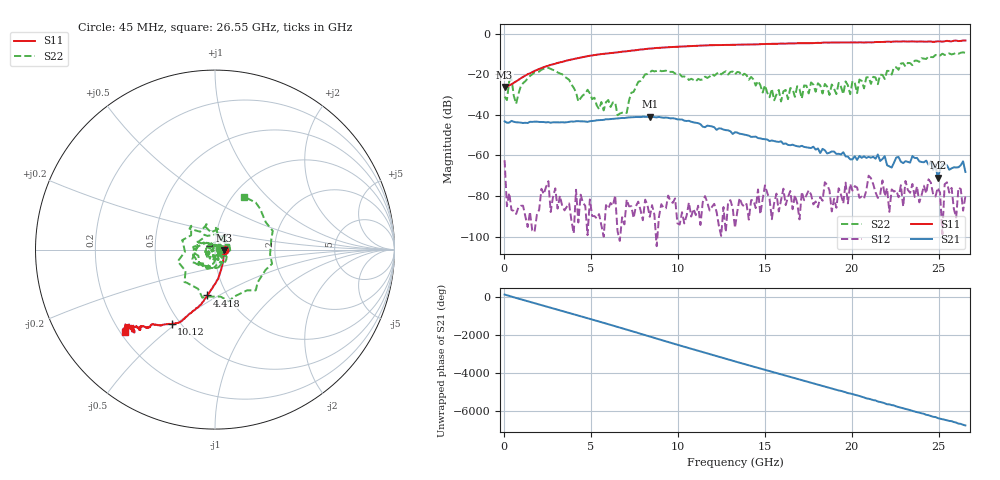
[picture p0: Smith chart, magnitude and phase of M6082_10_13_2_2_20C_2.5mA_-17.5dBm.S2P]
!  2-Port S-parameters saved by WinCal
! VAR MeasName=S-Parameters (CALIBRATED_DATA) read from VNA (C)
! VAR MeasDate=10/16/2015 2:30:54 PM
! VAR NAME=M6082_10_13_2_2_20C_2.5mA_-17.5dBm
! VAR FILENAME=M6082_10_13_2_2_20C_2.5mA_-17.5dBm.S2P
! VAR DATE=10/16/2015 2:30:54 PM
! VAR PHYS_PORTS=2,1
! VAR ObjTypeName=DATASET
! VAR IndexType=Frequency
# Hz S DB R 50
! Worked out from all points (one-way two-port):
!   201 points, 45 MHz to 26.55 GHz, reference 50 ohm
!   highest |S21| = -40.86 dB at 8.393 GHz (marker M1); lowest = -71.0 dB at 24.95 GHz (marker M2)
!   lowest |S11| = -26.3 dB at 45 MHz (marker M3), VSWR 1.10, Z = 55.1 - j0.218 ohm
!   |S11| at or under -10 dB: start of sweep to 5.648 GHz
!   |S22| runs from -40.1 to -9.2 dB; largest |S21 - S12| = 0.0091
!   S11 on the Smith chart (normalised r, x): 45 MHz: 1.10, -0.00; 4.418 GHz: 0.81, -0.44; 10.12 GHz: 0.45, -0.48; 26.55 GHz: 0.22, -0.37
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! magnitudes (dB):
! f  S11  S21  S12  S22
! 45 MHz  -26.3  -43.2  -62.3  -31.0
! 177.5 MHz  -26.0  -43.9  -85.0  -32.7
! 442.5 MHz  -24.9  -43.0  -86.9  -22.4
! 707.5 MHz  -23.5  -43.6  -88.8  -34.5
! 2.562 GHz  -15.7  -43.6  -72.7  -16.8
! 2.695 GHz  -15.4  -43.9  -87.9  -17.4
! 4.418 GHz  -11.7  -43.2  -79.3  -31.8
! 4.55 GHz  -11.5  -43.2  -83.3  -30.3
! 7.067 GHz  -8.7  -41.4  -81.7  -39.0
! 8.393 GHz  -7.4  -40.9  -90.2  -19.1
! 8.922 GHz  -7.0  -41.0  -90.2  -18.0
! 10.12 GHz  -6.4  -42.3  -94.0  -19.9
! 13.29 GHz  -5.5  -48.5  -95.6  -20.0
! 15.95 GHz  -4.9  -53.0  -82.0  -33.4
! 17.8 GHz  -4.7  -55.7  -84.1  -25.1
! 18.46 GHz  -4.4  -57.4  -73.2  -24.8
! 20.71 GHz  -4.3  -60.4  -81.3  -26.9
! 20.98 GHz  -4.2  -60.7  -69.9  -21.4
! 22.17 GHz  -4.0  -65.4  -87.8  -18.4
! 23.5 GHz  -3.8  -60.3  -74.0  -15.5
! 24.95 GHz  -3.7  -71.0  -75.9  -11.0
! 26.55 GHz  -3.4  -68.1  -80.1  -9.5
